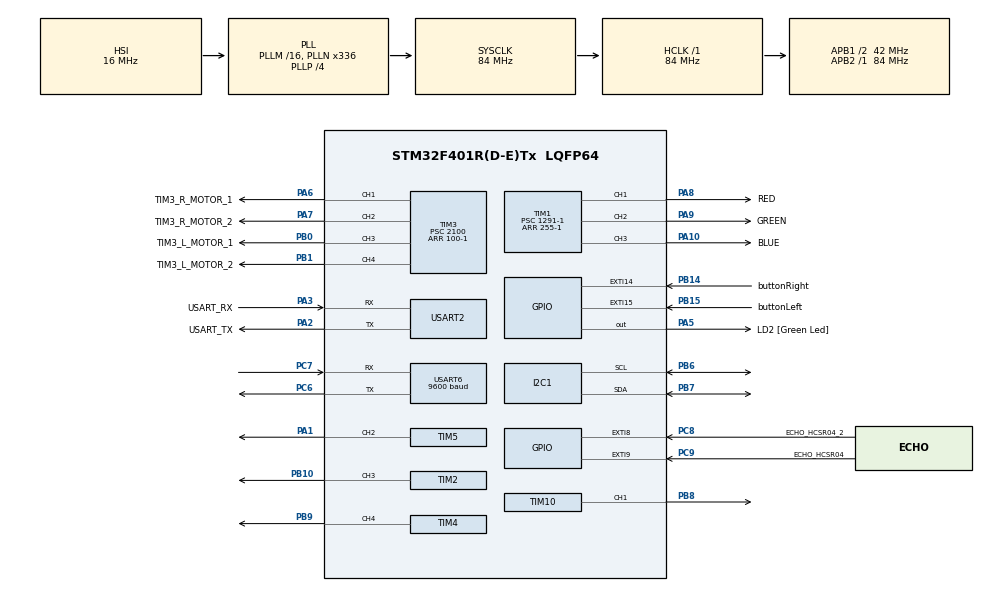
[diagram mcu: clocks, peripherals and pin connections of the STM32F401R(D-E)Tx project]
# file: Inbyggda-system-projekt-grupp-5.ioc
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Mcu.Family=STM32F4
Mcu.Name=STM32F401R(D-E)Tx
Mcu.Package=LQFP64
NVIC.EXTI15_10_IRQn=true\:0\:0\:false\:false\:true\:true
NVIC.EXTI9_5_IRQn=true\:0\:1\:false\:false\:true\:true
NVIC.PriorityGroup=NVIC_PRIORITYGROUP_0
NVIC.TIM1_BRK_TIM9_IRQn=true\:0\:0\:false\:false\:true\:true
NVIC.USART6_IRQn=true\:0\:0\:false\:false\:true\:true
PA1.Signal=S_TIM5_CH2
PA10.GPIO_Label=BLUE
PA10.Signal=S_TIM1_CH3
PA13.GPIO_Label=TMS
PA13.Signal=SYS_JTMS-SWDIO
PA14.GPIO_Label=TCK
PA14.Signal=SYS_JTCK-SWCLK
PA2.GPIO_Label=USART_TX
PA2.GPIO_Mode=GPIO_MODE_AF_PP
PA2.GPIO_PuPd=GPIO_NOPULL
PA2.GPIO_Speed=GPIO_SPEED_FREQ_LOW
PA2.Mode=Asynchronous
PA2.Signal=USART2_TX
PA3.GPIO_Label=USART_RX
PA3.GPIO_Mode=GPIO_MODE_AF_PP
PA3.GPIO_PuPd=GPIO_NOPULL
PA3.GPIO_Speed=GPIO_SPEED_FREQ_LOW
PA3.Mode=Asynchronous
PA3.Signal=USART2_RX
PA5.GPIO_Label=LD2 [Green Led]
PA5.GPIO_Mode=GPIO_MODE_OUTPUT_PP
PA5.GPIO_PuPd=GPIO_NOPULL
PA5.GPIO_Speed=GPIO_SPEED_FREQ_LOW
PA5.Signal=GPIO_Output
PA6.GPIO_Label=TIM3_R_MOTOR_1
PA6.Signal=S_TIM3_CH1
PA7.GPIO_Label=TIM3_R_MOTOR_2
PA7.Signal=S_TIM3_CH2
PA8.GPIO_Label=RED
PA8.Signal=S_TIM1_CH1
PA9.GPIO_Label=GREEN
PA9.Signal=S_TIM1_CH2
PB0.GPIO_Label=TIM3_L_MOTOR_1
PB0.Signal=S_TIM3_CH3
PB1.GPIO_Label=TIM3_L_MOTOR_2
PB1.Signal=S_TIM3_CH4
PB10.Signal=S_TIM2_CH3
PB14.GPIO_Label=buttonRight
PB14.GPIO_PuPd=GPIO_PULLUP
PB14.Signal=GPXTI14
PB15.GPIO_Label=buttonLeft
PB15.GPIO_PuPd=GPIO_PULLUP
PB15.Signal=GPXTI15
PB3.GPIO_Label=SWO
PB3.Signal=SYS_JTDO-SWO
PB6.Mode=I2C
PB6.Signal=I2C1_SCL
PB7.Mode=I2C
PB7.Signal=I2C1_SDA
PB8.Signal=S_TIM10_CH1
PB9.Signal=S_TIM4_CH4
PC14-OSC32_IN.Signal=RCC_OSC32_IN
PC15-OSC32_OUT.Signal=RCC_OSC32_OUT
PC6.Mode=Asynchronous
PC6.Signal=USART6_TX
PC7.Mode=Asynchronous
PC7.Signal=USART6_RX
PC8.GPIO_Label=ECHO_HCSR04_2
PC8.GPIO_ModeDefaultEXTI=GPIO_MODE_IT_RISING_FALLING
PC8.Signal=GPXTI8
PC9.GPIO_Label=ECHO_HCSR04
PC9.GPIO_ModeDefaultEXTI=GPIO_MODE_IT_RISING_FALLING
PC9.Signal=GPXTI9
PH0\ -\ OSC_IN.Signal=RCC_OSC_IN
PH1\ -\ OSC_OUT.Signal=RCC_OSC_OUT
ProjectManager.HeapSize=0x200
ProjectManager.StackSize=0x400
ProjectManager.TargetToolchain=TrueSTUDIO
RCC.AHBFreq_Value=84000000
RCC.APB1CLKDivider=RCC_HCLK_DIV2
RCC.APB1Freq_Value=42000000
RCC.APB1TimFreq_Value=84000000
RCC.APB2Freq_Value=84000000
RCC.APB2TimFreq_Value=84000000
RCC.CortexFreq_Value=84000000
RCC.HCLKFreq_Value=84000000
RCC.HSE_VALUE=8000000
RCC.HSI_VALUE=16000000
RCC.LSE_VALUE=32768
RCC.PLLN=336
RCC.PLLP=RCC_PLLP_DIV4
RCC.PLLQ=7
RCC.SYSCLKFreq_VALUE=84000000
RCC.SYSCLKSource=RCC_SYSCLKSOURCE_PLLCLK
RCC.VCOOutputFreq_Value=336000000
SH.S_TIM10_CH1.0=TIM10_CH1,PWM Generation1 CH1
SH.S_TIM1_CH1.0=TIM1_CH1,PWM Generation1 CH1
SH.S_TIM1_CH2.0=TIM1_CH2,PWM Generation2 CH2
SH.S_TIM1_CH3.0=TIM1_CH3,PWM Generation3 CH3
SH.S_TIM2_CH3.0=TIM2_CH3,PWM Generation3 CH3
SH.S_TIM3_CH1.0=TIM3_CH1,PWM Generation1 CH1
SH.S_TIM3_CH2.0=TIM3_CH2,PWM Generation2 CH2
SH.S_TIM3_CH3.0=TIM3_CH3,PWM Generation3 CH3
SH.S_TIM3_CH4.0=TIM3_CH4,PWM Generation4 CH4
SH.S_TIM4_CH4.0=TIM4_CH4,PWM Generation4 CH4
SH.S_TIM5_CH2.0=TIM5_CH2,PWM Generation2 CH2
TIM1.Channel-PWM\ Generation1\ CH1=TIM_CHANNEL_1
TIM1.Channel-PWM\ Generation2\ CH2=TIM_CHANNEL_2
TIM1.Channel-PWM\ Generation3\ CH3=TIM_CHANNEL_3
TIM1.Period=255-1
TIM1.Prescaler=1291-1
TIM10.Channel=TIM_CHANNEL_1
TIM10.Period=64615-1
TIM10.Prescaler=25-1
TIM10.Pulse=3846
TIM11.Period=10000-1
TIM11.Prescaler=84-1
TIM2.Channel-PWM\ Generation3\ CH3=TIM_CHANNEL_3
TIM3.Channel-PWM\ Generation1\ CH1=TIM_CHANNEL_1
TIM3.Channel-PWM\ Generation2\ CH2=TIM_CHANNEL_2
TIM3.Channel-PWM\ Generation3\ CH3=TIM_CHANNEL_3
TIM3.Channel-PWM\ Generation4\ CH4=TIM_CHANNEL_4
TIM3.ClockDivision=TIM_CLOCKDIVISION_DIV4
TIM3.Period=100-1
TIM3.Prescaler=2100
TIM4.Channel-PWM\ Generation4\ CH4=TIM_CHANNEL_4
TIM4.Period=50000-1
TIM4.Prescaler=100-1
TIM4.Pulse-PWM\ Generation4\ CH4=9
TIM5.Channel-PWM\ Generation2\ CH2=TIM_CHANNEL_2
TIM5.Period=50000-1
TIM5.Prescaler=100-1
TIM5.Pulse-PWM\ Generation2\ CH2=9
TIM9.Period=100-1
TIM9.Prescaler=42000-1
USART2.VirtualMode=VM_ASYNC
USART6.BaudRate=9600
USART6.VirtualMode=VM_ASYNC
VP_TIM10_VS_ClockSourceINT.Mode=Enable_Timer
VP_TIM11_VS_ClockSourceINT.Mode=Enable_Timer
VP_TIM1_VS_ClockSourceINT.Mode=Internal
VP_TIM2_VS_ClockSourceINT.Mode=Internal
VP_TIM3_VS_ClockSourceINT.Mode=Internal
VP_TIM4_VS_ClockSourceINT.Mode=Internal
VP_TIM5_VS_ClockSourceINT.Mode=Internal
VP_TIM9_VS_ClockSourceINT.Mode=Internal
board=NUCLEO-F401RE

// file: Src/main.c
/**
  ******************************************************************************
  * File Name          : main.c
  * Description        : Main program body
  ******************************************************************************
  *
  * COPYRIGHT(c) 2019 STMicroelectronics
  *
  * Redistribution and use in source and binary forms, with or without modification,
  * are permitted provided that the following conditions are met:
  *   1. Redistributions of source code must retain the above copyright notice,
  *      this list of conditions and the following disclaimer.
  *   2. Redistributions in binary form must reproduce the above copyright notice,
  *      this list of conditions and the following disclaimer in the documentation
  *      and/or other materials provided with the distribution.
  *   3. Neither the name of STMicroelectronics nor the names of its contributors
  *      may be used to endorse or promote products derived from this software
  *      without specific prior written permission.
  *
  * THIS SOFTWARE IS PROVIDED BY THE COPYRIGHT HOLDERS AND CONTRIBUTORS "AS IS"
  * AND ANY EXPRESS OR IMPLIED WARRANTIES, INCLUDING, BUT NOT LIMITED TO, THE
  * IMPLIED WARRANTIES OF MERCHANTABILITY AND FITNESS FOR A PARTICULAR PURPOSE ARE
  * DISCLAIMED. IN NO EVENT SHALL THE COPYRIGHT HOLDER OR CONTRIBUTORS BE LIABLE
  * FOR ANY DIRECT, INDIRECT, INCIDENTAL, SPECIAL, EXEMPLARY, OR CONSEQUENTIAL
  * DAMAGES (INCLUDING, BUT NOT LIMITED TO, PROCUREMENT OF SUBSTITUTE GOODS OR
  * SERVICES; LOSS OF USE, DATA, OR PROFITS; OR BUSINESS INTERRUPTION) HOWEVER
  * CAUSED AND ON ANY THEORY OF LIABILITY, WHETHER IN CONTRACT, STRICT LIABILITY,
  * OR TORT (INCLUDING NEGLIGENCE OR OTHERWISE) ARISING IN ANY WAY OUT OF THE USE
  * OF THIS SOFTWARE, EVEN IF ADVISED OF THE POSSIBILITY OF SUCH DAMAGE.
  *
  ******************************************************************************
  */
#include "main.h"
#include "stm32f4xx_hal.h"

/* USER CODE BEGIN Includes */
#include "motor_control.h"
#include "event_queue.h"
#include "colorSensor_I2C.h"
#include "BLE_sendData.h"
#include "BLE_ReceiveData.h"
#include "buzzer_pwm.h"
#include "pozyx_I2C.h"
#include "mineSearching.h"
#include "ultrasonic.h"
#include "servoArm.h"
/* USER CODE END Includes */

I2C_HandleTypeDef hi2c1;

TIM_HandleTypeDef htim1;
TIM_HandleTypeDef htim2;
TIM_HandleTypeDef htim3;
TIM_HandleTypeDef htim4;
TIM_HandleTypeDef htim5;
TIM_HandleTypeDef htim9;
TIM_HandleTypeDef htim10;
TIM_HandleTypeDef htim11;

UART_HandleTypeDef huart2;
UART_HandleTypeDef huart6;

/* USER CODE BEGIN PV */
myQueue motorQueue;
myQueue *pmotorQueue = &motorQueue;

int delayTick = 0;
int servoTick = 0;
int buzzTick = 0;
int ultraTick=0;
int pozTick =0;
int calibrateCount =0;
int calibrating = 1;
int distSensor_Enable=1;
int colorSensor_enable=0;

extern uint8_t BLE_buffer_rx[1];
extern int startRobot;
extern int calibrationDone;
/* USER CODE END PV */

void SystemClock_Config(void);
void Error_Handler(void);
static void MX_GPIO_Init(void);
static void MX_I2C1_Init(void);
static void MX_TIM3_Init(void);
static void MX_TIM4_Init(void);
static void MX_USART6_UART_Init(void);
static void MX_TIM10_Init(void);
static void MX_TIM2_Init(void);
static void MX_TIM1_Init(void);
static void MX_TIM5_Init(void);
static void MX_TIM9_Init(void);
static void MX_USART2_UART_Init(void);
static void MX_TIM11_Init(void);

void HAL_TIM_MspPostInit(TIM_HandleTypeDef *htim);

/* USER CODE BEGIN PFP */
/* Private function prototypes -----------------------------------------------*/
/* USER CODE END PFP */

/* USER CODE BEGIN 0 */
void HAL_TIM_PeriodElapsedCallback(TIM_HandleTypeDef *htim9){
	Pozyx_ReadRegisters();
	delayTick++;
	buzzTick++;
	ultraTick++;
	pozTick++;
	if(startRobot==1){
		servoStateMachine();
		if(ultraTick>4){
			checkDist();//Check Distance from ultrasonic sensor
			ultraTick=0;
		}
	}
}
/* USER CODE END 0 */

int main(void)
{

  /* MCU Configuration----------------------------------------------------------*/

  /* Reset of all peripherals, Initializes the Flash interface and the Systick. */
  HAL_Init();

  /* Configure the system clock */
  SystemClock_Config();

  /* Initialize all configured peripherals */
  MX_GPIO_Init();
  MX_I2C1_Init();
  MX_TIM3_Init();
  MX_TIM4_Init();
  MX_USART6_UART_Init();
  MX_TIM10_Init();
  MX_TIM2_Init();
  MX_TIM1_Init();
  MX_TIM5_Init();
  MX_TIM9_Init();
  MX_USART2_UART_Init();
  MX_TIM11_Init();

  /* USER CODE BEGIN 2 */
  HAL_TIM_Base_Start_IT(&htim9);
  HAL_TIM_PWM_Start_IT(&htim1,TIM_CHANNEL_1);
  HAL_TIM_PWM_Start_IT(&htim1,TIM_CHANNEL_2);
  HAL_TIM_PWM_Start_IT(&htim1,TIM_CHANNEL_3);
  HAL_TIM_PWM_Start_IT(&htim4,TIM_CHANNEL_4);
  HAL_TIM_PWM_Start_IT(&htim5,TIM_CHANNEL_2);
  HAL_TIM_PWM_Start_IT(&htim10,TIM_CHANNEL_1);

  pozyx_Init();
  colorSensor_Init();
  initQueue(pmotorQueue);
  /* USER CODE END 2 */

  /* Infinite loop */
  /* USER CODE BEGIN WHILE */
  while (1){
	 motorStateMachine(pmotorQueue);
	 BLE_Statemachine();
	 start_Buzzer();
	 HAL_UART_Receive_IT(&huart6,BLE_buffer_rx,1);
  /* USER CODE END WHILE */

  }

}

/** System Clock Configuration
*/
void SystemClock_Config(void)
{

  RCC_OscInitTypeDef RCC_OscInitStruct;
  RCC_ClkInitTypeDef RCC_ClkInitStruct;

    /**Configure the main internal regulator output voltage
    */
  __HAL_RCC_PWR_CLK_ENABLE();

  __HAL_PWR_VOLTAGESCALING_CONFIG(PWR_REGULATOR_VOLTAGE_SCALE2);

    /**Initializes the CPU, AHB and APB busses clocks
    */
  RCC_OscInitStruct.OscillatorType = RCC_OSCILLATORTYPE_HSI;
  RCC_OscInitStruct.HSIState = RCC_HSI_ON;
  RCC_OscInitStruct.HSICalibrationValue = 16;
  RCC_OscInitStruct.PLL.PLLState = RCC_PLL_ON;
  RCC_OscInitStruct.PLL.PLLSource = RCC_PLLSOURCE_HSI;
  RCC_OscInitStruct.PLL.PLLM = 16;
  RCC_OscInitStruct.PLL.PLLN = 336;
  RCC_OscInitStruct.PLL.PLLP = RCC_PLLP_DIV4;
  RCC_OscInitStruct.PLL.PLLQ = 7;
  if (HAL_RCC_OscConfig(&RCC_OscInitStruct) != HAL_OK)
  {
    Error_Handler();
  }

    /**Initializes the CPU, AHB and APB busses clocks
    */
  RCC_ClkInitStruct.ClockType = RCC_CLOCKTYPE_HCLK|RCC_CLOCKTYPE_SYSCLK
                              |RCC_CLOCKTYPE_PCLK1|RCC_CLOCKTYPE_PCLK2;
  RCC_ClkInitStruct.SYSCLKSource = RCC_SYSCLKSOURCE_PLLCLK;
  RCC_ClkInitStruct.AHBCLKDivider = RCC_SYSCLK_DIV1;
  RCC_ClkInitStruct.APB1CLKDivider = RCC_HCLK_DIV2;
  RCC_ClkInitStruct.APB2CLKDivider = RCC_HCLK_DIV1;

  if (HAL_RCC_ClockConfig(&RCC_ClkInitStruct, FLASH_LATENCY_2) != HAL_OK)
  {
    Error_Handler();
  }

    /**Configure the Systick interrupt time
    */
  HAL_SYSTICK_Config(HAL_RCC_GetHCLKFreq()/1000);

    /**Configure the Systick
    */
  HAL_SYSTICK_CLKSourceConfig(SYSTICK_CLKSOURCE_HCLK);

  /* SysTick_IRQn interrupt configuration */
  HAL_NVIC_SetPriority(SysTick_IRQn, 0, 0);
}

/* I2C1 init function */
static void MX_I2C1_Init(void)
{

  hi2c1.Instance = I2C1;
  hi2c1.Init.ClockSpeed = 100000;
  hi2c1.Init.DutyCycle = I2C_DUTYCYCLE_2;
  hi2c1.Init.OwnAddress1 = 0;
  hi2c1.Init.AddressingMode = I2C_ADDRESSINGMODE_7BIT;
  hi2c1.Init.DualAddressMode = I2C_DUALADDRESS_DISABLE;
  hi2c1.Init.OwnAddress2 = 0;
  hi2c1.Init.GeneralCallMode = I2C_GENERALCALL_DISABLE;
  hi2c1.Init.NoStretchMode = I2C_NOSTRETCH_DISABLE;
  if (HAL_I2C_Init(&hi2c1) != HAL_OK)
  {
    Error_Handler();
  }

}

/* TIM1 init function */
static void MX_TIM1_Init(void)
{

  TIM_ClockConfigTypeDef sClockSourceConfig;
  TIM_MasterConfigTypeDef sMasterConfig;
  TIM_OC_InitTypeDef sConfigOC;
  TIM_BreakDeadTimeConfigTypeDef sBreakDeadTimeConfig;

  htim1.Instance = TIM1;
  htim1.Init.Prescaler = 1291-1;
  htim1.Init.CounterMode = TIM_COUNTERMODE_UP;
  htim1.Init.Period = 255-1;
  htim1.Init.ClockDivision = TIM_CLOCKDIVISION_DIV1;
  htim1.Init.RepetitionCounter = 0;
  if (HAL_TIM_Base_Init(&htim1) != HAL_OK)
  {
    Error_Handler();
  }

  sClockSourceConfig.ClockSource = TIM_CLOCKSOURCE_INTERNAL;
  if (HAL_TIM_ConfigClockSource(&htim1, &sClockSourceConfig) != HAL_OK)
  {
    Error_Handler();
  }

  if (HAL_TIM_PWM_Init(&htim1) != HAL_OK)
  {
    Error_Handler();
  }

  sMasterConfig.MasterOutputTrigger = TIM_TRGO_RESET;
  sMasterConfig.MasterSlaveMode = TIM_MASTERSLAVEMODE_DISABLE;
  if (HAL_TIMEx_MasterConfigSynchronization(&htim1, &sMasterConfig) != HAL_OK)
  {
    Error_Handler();
  }

  sConfigOC.OCMode = TIM_OCMODE_PWM1;
  sConfigOC.Pulse = 0;
  sConfigOC.OCPolarity = TIM_OCPOLARITY_HIGH;
  sConfigOC.OCNPolarity = TIM_OCNPOLARITY_HIGH;
  sConfigOC.OCFastMode = TIM_OCFAST_DISABLE;
  sConfigOC.OCIdleState = TIM_OCIDLESTATE_RESET;
  sConfigOC.OCNIdleState = TIM_OCNIDLESTATE_RESET;
  if (HAL_TIM_PWM_ConfigChannel(&htim1, &sConfigOC, TIM_CHANNEL_1) != HAL_OK)
  {
    Error_Handler();
  }

  if (HAL_TIM_PWM_ConfigChannel(&htim1, &sConfigOC, TIM_CHANNEL_2) != HAL_OK)
  {
    Error_Handler();
  }

  if (HAL_TIM_PWM_ConfigChannel(&htim1, &sConfigOC, TIM_CHANNEL_3) != HAL_OK)
  {
    Error_Handler();
  }

  sBreakDeadTimeConfig.OffStateRunMode = TIM_OSSR_DISABLE;
  sBreakDeadTimeConfig.OffStateIDLEMode = TIM_OSSI_DISABLE;
  sBreakDeadTimeConfig.LockLevel = TIM_LOCKLEVEL_OFF;
  sBreakDeadTimeConfig.DeadTime = 0;
  sBreakDeadTimeConfig.BreakState = TIM_BREAK_DISABLE;
  sBreakDeadTimeConfig.BreakPolarity = TIM_BREAKPOLARITY_HIGH;
  sBreakDeadTimeConfig.AutomaticOutput = TIM_AUTOMATICOUTPUT_DISABLE;
  if (HAL_TIMEx_ConfigBreakDeadTime(&htim1, &sBreakDeadTimeConfig) != HAL_OK)
  {
    Error_Handler();
  }

  HAL_TIM_MspPostInit(&htim1);

}

/* TIM2 init function */
static void MX_TIM2_Init(void)
{

  TIM_ClockConfigTypeDef sClockSourceConfig;
  TIM_MasterConfigTypeDef sMasterConfig;
  TIM_OC_InitTypeDef sConfigOC;

  htim2.Instance = TIM2;
  htim2.Init.Prescaler = 0;
  htim2.Init.CounterMode = TIM_COUNTERMODE_UP;
  htim2.Init.Period = 0;
  htim2.Init.ClockDivision = TIM_CLOCKDIVISION_DIV1;
  if (HAL_TIM_Base_Init(&htim2) != HAL_OK)
  {
    Error_Handler();
  }

  sClockSourceConfig.ClockSource = TIM_CLOCKSOURCE_INTERNAL;
  if (HAL_TIM_ConfigClockSource(&htim2, &sClockSourceConfig) != HAL_OK)
  {
    Error_Handler();
  }

  if (HAL_TIM_PWM_Init(&htim2) != HAL_OK)
  {
    Error_Handler();
  }

  sMasterConfig.MasterOutputTrigger = TIM_TRGO_RESET;
  sMasterConfig.MasterSlaveMode = TIM_MASTERSLAVEMODE_DISABLE;
  if (HAL_TIMEx_MasterConfigSynchronization(&htim2, &sMasterConfig) != HAL_OK)
  {
    Error_Handler();
  }

  sConfigOC.OCMode = TIM_OCMODE_PWM1;
  sConfigOC.Pulse = 0;
  sConfigOC.OCPolarity = TIM_OCPOLARITY_HIGH;
  sConfigOC.OCFastMode = TIM_OCFAST_DISABLE;
  if (HAL_TIM_PWM_ConfigChannel(&htim2, &sConfigOC, TIM_CHANNEL_3) != HAL_OK)
  {
    Error_Handler();
  }

  HAL_TIM_MspPostInit(&htim2);

}

/* TIM3 init function */
static void MX_TIM3_Init(void)
{

  TIM_ClockConfigTypeDef sClockSourceConfig;
  TIM_MasterConfigTypeDef sMasterConfig;
  TIM_OC_InitTypeDef sConfigOC;

  htim3.Instance = TIM3;
  htim3.Init.Prescaler = 2100;
  htim3.Init.CounterMode = TIM_COUNTERMODE_UP;
  htim3.Init.Period = 100-1;
  htim3.Init.ClockDivision = TIM_CLOCKDIVISION_DIV4;
  if (HAL_TIM_Base_Init(&htim3) != HAL_OK)
  {
    Error_Handler();
  }

  sClockSourceConfig.ClockSource = TIM_CLOCKSOURCE_INTERNAL;
  if (HAL_TIM_ConfigClockSource(&htim3, &sClockSourceConfig) != HAL_OK)
  {
    Error_Handler();
  }

  if (HAL_TIM_PWM_Init(&htim3) != HAL_OK)
  {
    Error_Handler();
  }

  sMasterConfig.MasterOutputTrigger = TIM_TRGO_RESET;
  sMasterConfig.MasterSlaveMode = TIM_MASTERSLAVEMODE_DISABLE;
  if (HAL_TIMEx_MasterConfigSynchronization(&htim3, &sMasterConfig) != HAL_OK)
  {
    Error_Handler();
  }

  sConfigOC.OCMode = TIM_OCMODE_PWM1;
  sConfigOC.Pulse = 0;
  sConfigOC.OCPolarity = TIM_OCPOLARITY_HIGH;
  sConfigOC.OCFastMode = TIM_OCFAST_DISABLE;
  if (HAL_TIM_PWM_ConfigChannel(&htim3, &sConfigOC, TIM_CHANNEL_1) != HAL_OK)
  {
    Error_Handler();
  }

  if (HAL_TIM_PWM_ConfigChannel(&htim3, &sConfigOC, TIM_CHANNEL_2) != HAL_OK)
  {
    Error_Handler();
  }

  if (HAL_TIM_PWM_ConfigChannel(&htim3, &sConfigOC, TIM_CHANNEL_3) != HAL_OK)
  {
    Error_Handler();
  }

  if (HAL_TIM_PWM_ConfigChannel(&htim3, &sConfigOC, TIM_CHANNEL_4) != HAL_OK)
  {
    Error_Handler();
  }

  HAL_TIM_MspPostInit(&htim3);

}

/* TIM4 init function */
static void MX_TIM4_Init(void)
{

  TIM_ClockConfigTypeDef sClockSourceConfig;
  TIM_MasterConfigTypeDef sMasterConfig;
  TIM_OC_InitTypeDef sConfigOC;

  htim4.Instance = TIM4;
  htim4.Init.Prescaler = 100-1;
  htim4.Init.CounterMode = TIM_COUNTERMODE_UP;
  htim4.Init.Period = 50000-1;
  htim4.Init.ClockDivision = TIM_CLOCKDIVISION_DIV1;
  if (HAL_TIM_Base_Init(&htim4) != HAL_OK)
  {
    Error_Handler();
  }

  sClockSourceConfig.ClockSource = TIM_CLOCKSOURCE_INTERNAL;
  if (HAL_TIM_ConfigClockSource(&htim4, &sClockSourceConfig) != HAL_OK)
  {
    Error_Handler();
  }

  if (HAL_TIM_PWM_Init(&htim4) != HAL_OK)
  {
    Error_Handler();
  }

  sMasterConfig.MasterOutputTrigger = TIM_TRGO_RESET;
  sMasterConfig.MasterSlaveMode = TIM_MASTERSLAVEMODE_DISABLE;
  if (HAL_TIMEx_MasterConfigSynchronization(&htim4, &sMasterConfig) != HAL_OK)
  {
    Error_Handler();
  }

  sConfigOC.OCMode = TIM_OCMODE_PWM1;
  sConfigOC.Pulse = 9;
  sConfigOC.OCPolarity = TIM_OCPOLARITY_HIGH;
  sConfigOC.OCFastMode = TIM_OCFAST_DISABLE;
  if (HAL_TIM_PWM_ConfigChannel(&htim4, &sConfigOC, TIM_CHANNEL_4) != HAL_OK)
  {
    Error_Handler();
  }

  HAL_TIM_MspPostInit(&htim4);

}

/* TIM5 init function */
static void MX_TIM5_Init(void)
{

  TIM_ClockConfigTypeDef sClockSourceConfig;
  TIM_MasterConfigTypeDef sMasterConfig;
  TIM_OC_InitTypeDef sConfigOC;

  htim5.Instance = TIM5;
  htim5.Init.Prescaler = 100-1;
  htim5.Init.CounterMode = TIM_COUNTERMODE_UP;
  htim5.Init.Period = 50000-1;
  htim5.Init.ClockDivision = TIM_CLOCKDIVISION_DIV1;
  if (HAL_TIM_Base_Init(&htim5) != HAL_OK)
  {
    Error_Handler();
  }

  sClockSourceConfig.ClockSource = TIM_CLOCKSOURCE_INTERNAL;
  if (HAL_TIM_ConfigClockSource(&htim5, &sClockSourceConfig) != HAL_OK)
  {
    Error_Handler();
  }

  if (HAL_TIM_PWM_Init(&htim5) != HAL_OK)
  {
    Error_Handler();
  }

  sMasterConfig.MasterOutputTrigger = TIM_TRGO_RESET;
  sMasterConfig.MasterSlaveMode = TIM_MASTERSLAVEMODE_DISABLE;
  if (HAL_TIMEx_MasterConfigSynchronization(&htim5, &sMasterConfig) != HAL_OK)
  {
    Error_Handler();
  }

  sConfigOC.OCMode = TIM_OCMODE_PWM1;
  sConfigOC.Pulse = 9;
  sConfigOC.OCPolarity = TIM_OCPOLARITY_HIGH;
  sConfigOC.OCFastMode = TIM_OCFAST_DISABLE;
  if (HAL_TIM_PWM_ConfigChannel(&htim5, &sConfigOC, TIM_CHANNEL_2) != HAL_OK)
  {
    Error_Handler();
  }

  HAL_TIM_MspPostInit(&htim5);

}

/* TIM9 init function */
static void MX_TIM9_Init(void)
{

  TIM_ClockConfigTypeDef sClockSourceConfig;

  htim9.Instance = TIM9;
  htim9.Init.Prescaler = 42000-1;
  htim9.Init.CounterMode = TIM_COUNTERMODE_UP;
  htim9.Init.Period = 100-1;
  htim9.Init.ClockDivision = TIM_CLOCKDIVISION_DIV1;
  if (HAL_TIM_Base_Init(&htim9) != HAL_OK)
  {
    Error_Handler();
  }

  sClockSourceConfig.ClockSource = TIM_CLOCKSOURCE_INTERNAL;
  if (HAL_TIM_ConfigClockSource(&htim9, &sClockSourceConfig) != HAL_OK)
  {
    Error_Handler();
  }

}

/* TIM10 init function */
static void MX_TIM10_Init(void)
{

  TIM_OC_InitTypeDef sConfigOC;

  htim10.Instance = TIM10;
  htim10.Init.Prescaler = 25-1;
  htim10.Init.CounterMode = TIM_COUNTERMODE_UP;
  htim10.Init.Period = 64615-1;
  htim10.Init.ClockDivision = TIM_CLOCKDIVISION_DIV1;
  if (HAL_TIM_Base_Init(&htim10) != HAL_OK)
  {
    Error_Handler();
  }

  if (HAL_TIM_PWM_Init(&htim10) != HAL_OK)
  {
    Error_Handler();
  }

  sConfigOC.OCMode = TIM_OCMODE_PWM1;
  sConfigOC.Pulse = 3846;
  sConfigOC.OCPolarity = TIM_OCPOLARITY_HIGH;
  sConfigOC.OCFastMode = TIM_OCFAST_DISABLE;
  if (HAL_TIM_PWM_ConfigChannel(&htim10, &sConfigOC, TIM_CHANNEL_1) != HAL_OK)
  {
    Error_Handler();
  }

  HAL_TIM_MspPostInit(&htim10);

}

/* TIM11 init function */
static void MX_TIM11_Init(void)
{

  htim11.Instance = TIM11;
  htim11.Init.Prescaler = 84-1;
  htim11.Init.CounterMode = TIM_COUNTERMODE_UP;
  htim11.Init.Period = 10000-1;
  htim11.Init.ClockDivision = TIM_CLOCKDIVISION_DIV1;
  if (HAL_TIM_Base_Init(&htim11) != HAL_OK)
  {
    Error_Handler();
  }

}

/* USART2 init function */
static void MX_USART2_UART_Init(void)
{

  huart2.Instance = USART2;
  huart2.Init.BaudRate = 115200;
  huart2.Init.WordLength = UART_WORDLENGTH_8B;
  huart2.Init.StopBits = UART_STOPBITS_1;
  huart2.Init.Parity = UART_PARITY_NONE;
  huart2.Init.Mode = UART_MODE_TX_RX;
  huart2.Init.HwFlowCtl = UART_HWCONTROL_NONE;
  huart2.Init.OverSampling = UART_OVERSAMPLING_16;
  if (HAL_UART_Init(&huart2) != HAL_OK)
  {
    Error_Handler();
  }

}

/* USART6 init function */
static void MX_USART6_UART_Init(void)
{

  huart6.Instance = USART6;
  huart6.Init.BaudRate = 9600;
  huart6.Init.WordLength = UART_WORDLENGTH_8B;
  huart6.Init.StopBits = UART_STOPBITS_1;
  huart6.Init.Parity = UART_PARITY_NONE;
  huart6.Init.Mode = UART_MODE_TX_RX;
  huart6.Init.HwFlowCtl = UART_HWCONTROL_NONE;
  huart6.Init.OverSampling = UART_OVERSAMPLING_16;
  if (HAL_UART_Init(&huart6) != HAL_OK)
  {
    Error_Handler();
  }

}

/** Configure pins as
        * Analog
        * Input
        * Output
        * EVENT_OUT
        * EXTI
*/
static void MX_GPIO_Init(void)
{

  GPIO_InitTypeDef GPIO_InitStruct;

  /* GPIO Ports Clock Enable */
  __HAL_RCC_GPIOC_CLK_ENABLE();
  __HAL_RCC_GPIOH_CLK_ENABLE();
  __HAL_RCC_GPIOA_CLK_ENABLE();
  __HAL_RCC_GPIOB_CLK_ENABLE();

  /*Configure GPIO pin Output Level */
  HAL_GPIO_WritePin(LD2_GPIO_Port, LD2_Pin, GPIO_PIN_RESET);

  /*Configure GPIO pin : LD2_Pin */
  GPIO_InitStruct.Pin = LD2_Pin;
  GPIO_InitStruct.Mode = GPIO_MODE_OUTPUT_PP;
  GPIO_InitStruct.Pull = GPIO_NOPULL;
  GPIO_InitStruct.Speed = GPIO_SPEED_FREQ_LOW;
  HAL_GPIO_Init(LD2_GPIO_Port, &GPIO_InitStruct);

  /*Configure GPIO pins : buttonRight_Pin buttonLeft_Pin */
  GPIO_InitStruct.Pin = buttonRight_Pin|buttonLeft_Pin;
  GPIO_InitStruct.Mode = GPIO_MODE_IT_RISING;
  GPIO_InitStruct.Pull = GPIO_PULLUP;
  HAL_GPIO_Init(GPIOB, &GPIO_InitStruct);

  /*Configure GPIO pins : ECHO_HCSR04_2_Pin ECHO_HCSR04_Pin */
  GPIO_InitStruct.Pin = ECHO_HCSR04_2_Pin|ECHO_HCSR04_Pin;
  GPIO_InitStruct.Mode = GPIO_MODE_IT_RISING_FALLING;
  GPIO_InitStruct.Pull = GPIO_NOPULL;
  HAL_GPIO_Init(GPIOC, &GPIO_InitStruct);

  /* EXTI interrupt init*/
  HAL_NVIC_SetPriority(EXTI9_5_IRQn, 0, 1);
  HAL_NVIC_EnableIRQ(EXTI9_5_IRQn);

  HAL_NVIC_SetPriority(EXTI15_10_IRQn, 0, 0);
  HAL_NVIC_EnableIRQ(EXTI15_10_IRQn);

}

void Error_Handler(void)
{
  while(1)
  {
  }
}

/************************ (C) COPYRIGHT STMicroelectronics *****END OF FILE****/
